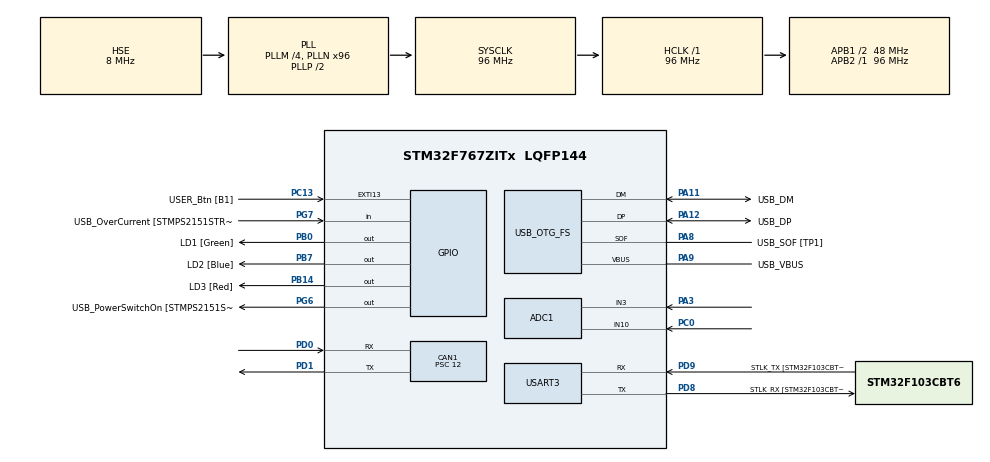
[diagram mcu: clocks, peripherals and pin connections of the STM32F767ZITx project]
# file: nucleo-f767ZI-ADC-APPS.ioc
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ADC1.Channel-1\#ChannelRegularConversion=ADC_CHANNEL_3
ADC1.Channel-2\#ChannelRegularConversion=ADC_CHANNEL_10
ADC1.ContinuousConvMode=ENABLE
ADC1.NbrOfConversion=2
ADC1.NbrOfConversionFlag=1
ADC1.Rank-1\#ChannelRegularConversion=1
ADC1.Rank-2\#ChannelRegularConversion=2
ADC1.SamplingTime-1\#ChannelRegularConversion=ADC_SAMPLETIME_3CYCLES
ADC1.SamplingTime-2\#ChannelRegularConversion=ADC_SAMPLETIME_3CYCLES
ADC1.master=1
CAN1.ABOM=ENABLE
CAN1.AWUM=ENABLE
CAN1.BS1=CAN_BS1_6TQ
CAN1.CalculateBaudRate=500000
CAN1.CalculateTimeBit=2000
CAN1.CalculateTimeQuantum=250.0
CAN1.Prescaler=12
FREERTOS.Tasks01=APPS,24,128,process_throttle,Default,NULL,Dynamic,NULL,NULL
FREERTOS.configUSE_NEWLIB_REENTRANT=1
Mcu.Family=STM32F7
Mcu.Name=STM32F767ZITx
Mcu.Package=LQFP144
NVIC.PriorityGroup=NVIC_PRIORITYGROUP_4
NVIC.TIM7_IRQn=true\:15\:0\:false\:false\:true\:false\:false\:true\:true
NVIC.TimeBase=TIM7_IRQn
NVIC.TimeBaseIP=TIM7
PA10.GPIO_Label=USB_ID
PA10.Signal=USB_OTG_FS_ID
PA11.GPIO_Label=USB_DM
PA11.Mode=Device_Only
PA11.Signal=USB_OTG_FS_DM
PA12.GPIO_Label=USB_DP
PA12.Mode=Device_Only
PA12.Signal=USB_OTG_FS_DP
PA13.GPIO_Label=TMS
PA13.Mode=Serial_Wire
PA13.Signal=SYS_JTMS-SWDIO
PA14.GPIO_Label=TCK
PA14.Mode=Serial_Wire
PA14.Signal=SYS_JTCK-SWCLK
PA3.Signal=ADCx_IN3
PA8.GPIO_Label=USB_SOF [TP1]
PA8.Mode=Activate_SOF_FS
PA8.Signal=USB_OTG_FS_SOF
PA9.GPIO_Label=USB_VBUS
PA9.Mode=Activate_VBUS
PA9.Signal=USB_OTG_FS_VBUS
PB0.GPIO_Label=LD1 [Green]
PB0.Signal=GPIO_Output
PB14.GPIO_Label=LD3 [Red]
PB14.Signal=GPIO_Output
PB3.GPIO_Label=SWO
PB3.Signal=SYS_JTDO-SWO
PB7.GPIO_Label=LD2 [Blue]
PB7.Signal=GPIO_Output
PC0.Signal=ADCx_IN10
PC13.GPIO_Label=USER_Btn [B1]
PC13.Signal=GPXTI13
PC14/OSC32_IN.Mode=LSE-External-Oscillator
PC14/OSC32_IN.Signal=RCC_OSC32_IN
PC15/OSC32_OUT.Mode=LSE-External-Oscillator
PC15/OSC32_OUT.Signal=RCC_OSC32_OUT
PD0.Mode=CAN_Activate
PD0.Signal=CAN1_RX
PD1.Mode=CAN_Activate
PD1.Signal=CAN1_TX
PD8.GPIO_Label=STLK_RX [STM32F103CBT6_PA3]
PD8.Mode=Asynchronous
PD8.Signal=USART3_TX
PD9.GPIO_Label=STLK_TX [STM32F103CBT6_PA2]
PD9.Mode=Asynchronous
PD9.Signal=USART3_RX
PG6.GPIO_Label=USB_PowerSwitchOn [STMPS2151STR_EN]
PG6.Signal=GPIO_Output
PG7.GPIO_Label=USB_OverCurrent [STMPS2151STR_FAULT]
PG7.Signal=GPIO_Input
PH0/OSC_IN.GPIO_Label=MCO [STM32F103CBT6_PA8]
PH0/OSC_IN.Mode=HSE-External-Clock-Source
PH0/OSC_IN.Signal=RCC_OSC_IN
PH1/OSC_OUT.Mode=HSE-External-Clock-Source
PH1/OSC_OUT.Signal=RCC_OSC_OUT
ProjectManager.HeapSize=0x200
ProjectManager.StackSize=0x400
ProjectManager.TargetToolchain=STM32CubeIDE
RCC.48MHZClocksFreq_Value=24000000
RCC.AHBFreq_Value=96000000
RCC.APB1CLKDivider=RCC_HCLK_DIV2
RCC.APB1Freq_Value=48000000
RCC.APB1TimFreq_Value=96000000
RCC.APB2Freq_Value=96000000
RCC.APB2TimFreq_Value=96000000
RCC.CortexFreq_Value=96000000
RCC.HCLKFreq_Value=96000000
RCC.HSE_VALUE=8000000
RCC.HSI_VALUE=16000000
RCC.PLLM=4
RCC.PLLMUL=RCC_PLL_MUL9
RCC.PLLN=96
RCC.PLLQ=4
RCC.PRESCALERUSB=RCC_USBCLKSOURCE_PLL_DIV1_5
RCC.SYSCLKFreq_VALUE=96000000
RCC.SYSCLKSource=RCC_SYSCLKSOURCE_PLLCLK
RCC.SYSCLKSourceVirtual=RCC_SYSCLKSOURCE_PLLCLK
RCC.USBFreq_Value=48000000
RCC.VCOOutputFreq_Value=192000000
SH.ADCx_IN10.0=ADC1_IN10,IN10
SH.ADCx_IN3.0=ADC1_IN3,IN3
USART3.VirtualMode-Asynchronous=VM_ASYNC
USB_OTG_FS.VirtualMode=Device_Only
VP_FREERTOS_VS_CMSIS_V2.Mode=CMSIS_V2
VP_SYS_VS_tim7.Mode=TIM7
board=NUCLEO-F767ZI

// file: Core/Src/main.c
/* USER CODE BEGIN Header */
/**
  ******************************************************************************
  * @file           : main.c
  * @brief          : Main program body
  ******************************************************************************
  * @attention
  *
  * Copyright (c) 2023 STMicroelectronics.
  * All rights reserved.
  *
  * This software is licensed under terms that can be found in the LICENSE file
  * in the root directory of this software component.
  * If no LICENSE file comes with this software, it is provided AS-IS.
  *
  ******************************************************************************
  */
/* USER CODE END Header */
#include "main.h"
#include "cmsis_os.h"

/* USER CODE BEGIN Includes */
#include <string.h>
#include <stdio.h>
/* USER CODE END Includes */

/* USER CODE BEGIN PM */
#define BAMOCAR_CANBUS_ID 0x271 // TODO: Verify
#define ECU_CANBUS_ID 0x10 // TODO: approve
#define TORQUE_REG 0x90 // TODO: Verify
/* USER CODE END PM */

ADC_HandleTypeDef hadc1;

CAN_HandleTypeDef hcan1;

UART_HandleTypeDef huart3;

PCD_HandleTypeDef hpcd_USB_OTG_FS;

/* Definitions for APPS */
osThreadId_t APPSHandle;
const osThreadAttr_t APPS_attributes = {
  .name = "APPS",
  .stack_size = 128 * 4,
  .priority = (osPriority_t) osPriorityNormal,
};
/* USER CODE BEGIN PV */
CAN_RxHeaderTypeDef rxHeader; //CAN Bus Transmit Header
CAN_TxHeaderTypeDef TxHeader;
uint32_t TxMailbox;
uint8_t TxData[8] = {0x00};
uint8_t canRX[8] = {0};  //CAN Bus Receive Buffer
/* USER CODE END PV */

void SystemClock_Config(void);
static void MX_GPIO_Init(void);
static void MX_USART3_UART_Init(void);
static void MX_USB_OTG_FS_PCD_Init(void);
static void MX_ADC1_Init(void);
static void MX_CAN1_Init(void);
void process_throttle(void *argument);

/* USER CODE BEGIN PFP */
uint16_t percent_to_trq_hex(short percent);
long map(long x, long in_min, long in_max, long out_min, long out_max);
/* USER CODE END PFP */

int main(void)
{

  /* MCU Configuration--------------------------------------------------------*/

  /* Reset of all peripherals, Initializes the Flash interface and the Systick. */
  HAL_Init();

  /* Configure the system clock */
  SystemClock_Config();

  /* Initialize all configured peripherals */
  MX_GPIO_Init();
  MX_USART3_UART_Init();
  MX_USB_OTG_FS_PCD_Init();
  MX_ADC1_Init();
  MX_CAN1_Init();

  /* Init scheduler */
  osKernelInitialize();

  /* Create the thread(s) */
  /* creation of APPS */
  APPSHandle = osThreadNew(process_throttle, NULL, &APPS_attributes);

  /* Start scheduler */
  osKernelStart();

  /* We should never get here as control is now taken by the scheduler */
  /* Infinite loop */
  while (1)
  {

  }
}

void SystemClock_Config(void)
{
  RCC_OscInitTypeDef RCC_OscInitStruct = {0};
  RCC_ClkInitTypeDef RCC_ClkInitStruct = {0};

  /** Configure LSE Drive Capability
  */
  HAL_PWR_EnableBkUpAccess();

  /** Configure the main internal regulator output voltage
  */
  __HAL_RCC_PWR_CLK_ENABLE();
  __HAL_PWR_VOLTAGESCALING_CONFIG(PWR_REGULATOR_VOLTAGE_SCALE3);

  /** Initializes the RCC Oscillators according to the specified parameters
  * in the RCC_OscInitTypeDef structure.
  */
  RCC_OscInitStruct.OscillatorType = RCC_OSCILLATORTYPE_HSE;
  RCC_OscInitStruct.HSEState = RCC_HSE_BYPASS;
  RCC_OscInitStruct.PLL.PLLState = RCC_PLL_ON;
  RCC_OscInitStruct.PLL.PLLSource = RCC_PLLSOURCE_HSE;
  RCC_OscInitStruct.PLL.PLLM = 4;
  RCC_OscInitStruct.PLL.PLLN = 96;
  RCC_OscInitStruct.PLL.PLLP = RCC_PLLP_DIV2;
  RCC_OscInitStruct.PLL.PLLQ = 4;
  RCC_OscInitStruct.PLL.PLLR = 2;
  if (HAL_RCC_OscConfig(&RCC_OscInitStruct) != HAL_OK)
  {
    Error_Handler();
  }

  /** Activate the Over-Drive mode
  */
  if (HAL_PWREx_EnableOverDrive() != HAL_OK)
  {
    Error_Handler();
  }

  /** Initializes the CPU, AHB and APB buses clocks
  */
  RCC_ClkInitStruct.ClockType = RCC_CLOCKTYPE_HCLK|RCC_CLOCKTYPE_SYSCLK
                              |RCC_CLOCKTYPE_PCLK1|RCC_CLOCKTYPE_PCLK2;
  RCC_ClkInitStruct.SYSCLKSource = RCC_SYSCLKSOURCE_PLLCLK;
  RCC_ClkInitStruct.AHBCLKDivider = RCC_SYSCLK_DIV1;
  RCC_ClkInitStruct.APB1CLKDivider = RCC_HCLK_DIV2;
  RCC_ClkInitStruct.APB2CLKDivider = RCC_HCLK_DIV1;

  if (HAL_RCC_ClockConfig(&RCC_ClkInitStruct, FLASH_LATENCY_3) != HAL_OK)
  {
    Error_Handler();
  }
}

static void MX_ADC1_Init(void)
{

  ADC_ChannelConfTypeDef sConfig = {0};

  /** Configure the global features of the ADC (Clock, Resolution, Data Alignment and number of conversion)
  */
  hadc1.Instance = ADC1;
  hadc1.Init.ClockPrescaler = ADC_CLOCK_SYNC_PCLK_DIV4;
  hadc1.Init.Resolution = ADC_RESOLUTION_12B;
  hadc1.Init.ScanConvMode = ADC_SCAN_ENABLE;
  hadc1.Init.ContinuousConvMode = ENABLE;
  hadc1.Init.DiscontinuousConvMode = DISABLE;
  hadc1.Init.ExternalTrigConvEdge = ADC_EXTERNALTRIGCONVEDGE_NONE;
  hadc1.Init.ExternalTrigConv = ADC_SOFTWARE_START;
  hadc1.Init.DataAlign = ADC_DATAALIGN_RIGHT;
  hadc1.Init.NbrOfConversion = 2;
  hadc1.Init.DMAContinuousRequests = DISABLE;
  hadc1.Init.EOCSelection = ADC_EOC_SINGLE_CONV;
  if (HAL_ADC_Init(&hadc1) != HAL_OK)
  {
    Error_Handler();
  }

  /** Configure for the selected ADC regular channel its corresponding rank in the sequencer and its sample time.
  */
  sConfig.Channel = ADC_CHANNEL_3;
  sConfig.Rank = ADC_REGULAR_RANK_1;
  sConfig.SamplingTime = ADC_SAMPLETIME_3CYCLES;
  if (HAL_ADC_ConfigChannel(&hadc1, &sConfig) != HAL_OK)
  {
    Error_Handler();
  }

  /** Configure for the selected ADC regular channel its corresponding rank in the sequencer and its sample time.
  */
  sConfig.Channel = ADC_CHANNEL_10;
  sConfig.Rank = ADC_REGULAR_RANK_2;
  if (HAL_ADC_ConfigChannel(&hadc1, &sConfig) != HAL_OK)
  {
    Error_Handler();
  }

}

static void MX_CAN1_Init(void)
{

  /* USER CODE BEGIN CAN1_Init 0 */
	CAN_FilterTypeDef canfil; //CAN Bus Filter
  /* USER CODE END CAN1_Init 0 */

  hcan1.Instance = CAN1;
  hcan1.Init.Prescaler = 12;
  hcan1.Init.Mode = CAN_MODE_NORMAL;
  hcan1.Init.SyncJumpWidth = CAN_SJW_1TQ;
  hcan1.Init.TimeSeg1 = CAN_BS1_6TQ;
  hcan1.Init.TimeSeg2 = CAN_BS2_1TQ;
  hcan1.Init.TimeTriggeredMode = DISABLE;
  hcan1.Init.AutoBusOff = ENABLE;
  hcan1.Init.AutoWakeUp = ENABLE;
  hcan1.Init.AutoRetransmission = DISABLE;
  hcan1.Init.ReceiveFifoLocked = DISABLE;
  hcan1.Init.TransmitFifoPriority = DISABLE;
  if (HAL_CAN_Init(&hcan1) != HAL_OK)
  {
    Error_Handler();
  }
  /* USER CODE BEGIN CAN1_Init 2 */
  TxHeader.DLC = 8; // Number of bites to be transmitted max- 8
  TxHeader.IDE = CAN_ID_STD;
  TxHeader.ExtId = 0;
  TxHeader.RTR = CAN_RTR_DATA;
  TxHeader.StdId = ECU_CANBUS_ID;
  TxHeader.TransmitGlobalTime = DISABLE;

  canfil.FilterBank = 0;
  canfil.FilterMode = CAN_FILTERMODE_IDMASK;
  canfil.FilterFIFOAssignment = CAN_RX_FIFO0;
  canfil.FilterIdHigh = 0;
  canfil.FilterIdLow = 0;
  canfil.FilterMaskIdHigh = 0;
  canfil.FilterMaskIdLow = 0;
  canfil.FilterScale = CAN_FILTERSCALE_32BIT;
  canfil.FilterActivation = ENABLE;
  canfil.SlaveStartFilterBank = 14;

  HAL_CAN_ConfigFilter(&hcan1,&canfil); //Initialize CAN Filter

  if (HAL_CAN_Start(&hcan1) != HAL_OK) {
	  Error_Handler();
  }
  /* USER CODE END CAN1_Init 2 */

}

static void MX_USART3_UART_Init(void)
{

  huart3.Instance = USART3;
  huart3.Init.BaudRate = 115200;
  huart3.Init.WordLength = UART_WORDLENGTH_8B;
  huart3.Init.StopBits = UART_STOPBITS_1;
  huart3.Init.Parity = UART_PARITY_NONE;
  huart3.Init.Mode = UART_MODE_TX_RX;
  huart3.Init.HwFlowCtl = UART_HWCONTROL_NONE;
  huart3.Init.OverSampling = UART_OVERSAMPLING_16;
  huart3.Init.OneBitSampling = UART_ONE_BIT_SAMPLE_DISABLE;
  huart3.AdvancedInit.AdvFeatureInit = UART_ADVFEATURE_NO_INIT;
  if (HAL_UART_Init(&huart3) != HAL_OK)
  {
    Error_Handler();
  }

}

static void MX_USB_OTG_FS_PCD_Init(void)
{

  hpcd_USB_OTG_FS.Instance = USB_OTG_FS;
  hpcd_USB_OTG_FS.Init.dev_endpoints = 6;
  hpcd_USB_OTG_FS.Init.speed = PCD_SPEED_FULL;
  hpcd_USB_OTG_FS.Init.dma_enable = DISABLE;
  hpcd_USB_OTG_FS.Init.phy_itface = PCD_PHY_EMBEDDED;
  hpcd_USB_OTG_FS.Init.Sof_enable = ENABLE;
  hpcd_USB_OTG_FS.Init.low_power_enable = DISABLE;
  hpcd_USB_OTG_FS.Init.lpm_enable = DISABLE;
  hpcd_USB_OTG_FS.Init.vbus_sensing_enable = ENABLE;
  hpcd_USB_OTG_FS.Init.use_dedicated_ep1 = DISABLE;
  if (HAL_PCD_Init(&hpcd_USB_OTG_FS) != HAL_OK)
  {
    Error_Handler();
  }

}

static void MX_GPIO_Init(void)
{
  GPIO_InitTypeDef GPIO_InitStruct = {0};

  /* GPIO Ports Clock Enable */
  __HAL_RCC_GPIOC_CLK_ENABLE();
  __HAL_RCC_GPIOH_CLK_ENABLE();
  __HAL_RCC_GPIOA_CLK_ENABLE();
  __HAL_RCC_GPIOB_CLK_ENABLE();
  __HAL_RCC_GPIOD_CLK_ENABLE();
  __HAL_RCC_GPIOG_CLK_ENABLE();

  /*Configure GPIO pin Output Level */
  HAL_GPIO_WritePin(GPIOB, LD1_Pin|LD3_Pin|LD2_Pin, GPIO_PIN_RESET);

  /*Configure GPIO pin Output Level */
  HAL_GPIO_WritePin(USB_PowerSwitchOn_GPIO_Port, USB_PowerSwitchOn_Pin, GPIO_PIN_RESET);

  /*Configure GPIO pin : USER_Btn_Pin */
  GPIO_InitStruct.Pin = USER_Btn_Pin;
  GPIO_InitStruct.Mode = GPIO_MODE_IT_RISING;
  GPIO_InitStruct.Pull = GPIO_NOPULL;
  HAL_GPIO_Init(USER_Btn_GPIO_Port, &GPIO_InitStruct);

  /*Configure GPIO pins : LD1_Pin LD3_Pin LD2_Pin */
  GPIO_InitStruct.Pin = LD1_Pin|LD3_Pin|LD2_Pin;
  GPIO_InitStruct.Mode = GPIO_MODE_OUTPUT_PP;
  GPIO_InitStruct.Pull = GPIO_NOPULL;
  GPIO_InitStruct.Speed = GPIO_SPEED_FREQ_LOW;
  HAL_GPIO_Init(GPIOB, &GPIO_InitStruct);

  /*Configure GPIO pin : USB_PowerSwitchOn_Pin */
  GPIO_InitStruct.Pin = USB_PowerSwitchOn_Pin;
  GPIO_InitStruct.Mode = GPIO_MODE_OUTPUT_PP;
  GPIO_InitStruct.Pull = GPIO_NOPULL;
  GPIO_InitStruct.Speed = GPIO_SPEED_FREQ_LOW;
  HAL_GPIO_Init(USB_PowerSwitchOn_GPIO_Port, &GPIO_InitStruct);

  /*Configure GPIO pin : USB_OverCurrent_Pin */
  GPIO_InitStruct.Pin = USB_OverCurrent_Pin;
  GPIO_InitStruct.Mode = GPIO_MODE_INPUT;
  GPIO_InitStruct.Pull = GPIO_NOPULL;
  HAL_GPIO_Init(USB_OverCurrent_GPIO_Port, &GPIO_InitStruct);

}

/* USER CODE BEGIN 4 */
uint16_t percent_to_trq_hex(short percent){
    return (uint16_t)map(percent, 0, 100, 0x0000, 0x5555);
}

// Parsed from Arduino's Wiring.h
long map(long x, long in_min, long in_max, long out_min, long out_max) {
	long in_range = in_max - in_min;
	long out_range = out_max - out_min;
	if (in_range == 0) return out_min + out_range / 2;
	long num = (x - in_min) * out_range;
	if (out_range >= 0) {
		num += in_range / 2;
	} else {
		num -= in_range / 2;
	}
	long result = num / in_range + out_min;
	if (out_range >= 0) {
		if (in_range * num < 0) return result - 1;
	} else {
		if (in_range * num >= 0) return result + 1;
	}
	return result;
}
/* USER CODE END 4 */

void process_throttle(void *argument)
{
  /* USER CODE BEGIN 5 */
	uint16_t raw;
	char msg[32];
  /* Infinite loop */
  for(;;)
  {
	  //#############################APPS 1#####################################
	  //What one can do to test the Timing of the ADC is pull a pin high here and measure it wit the Oscilloscope
	  HAL_GPIO_TogglePin(GPIOB, GPIO_PIN_14);

	  //Get ADC Value
	  HAL_ADC_Start(&hadc1);
	  HAL_ADC_PollForConversion(&hadc1, HAL_MAX_DELAY);
	  raw = HAL_ADC_GetValue(&hadc1);

	  //Set GPIO pin low for ADC timing on Oscilloscope
	  HAL_GPIO_TogglePin(GPIOB, GPIO_PIN_14);

	  //Convert string and send message over UART to PC console
	  sprintf(msg,"%hu\r\n", raw);
	  HAL_UART_Transmit(&huart3, (uint8_t*)msg, strlen(msg), HAL_MAX_DELAY);

	  //#############################APPS 2#####################################
//	  //What one can do to test the Timing of the ADC is pull a pin high here and measure it wit the Oscilloscope
//	  HAL_GPIO_TogglePin(GPIOB, GPIO_PIN_14);
//
//	  //Get ADC Value
//	  HAL_ADC_Start(&hadc1);
//	  HAL_ADC_PollForConversion(&hadc1, HAL_MAX_DELAY);
//	  raw = HAL_ADC_GetValue(&hadc1);
//
//	  //Set GPIO pin low for ADC timing on Oscilloscope
//	  HAL_GPIO_TogglePin(GPIOB, GPIO_PIN_14);
//
//	  //Convert string and send message over UART to PC console
//	  sprintf(msg,"A1: %hu\r\n", raw);
//	  HAL_UART_Transmit(&huart3, (uint8_t*)msg, strlen(msg), HAL_MAX_DELAY);
//
//	  //Pretend we have something else to do for a while
//	  HAL_Delay(1);
  }

  //In case the thread is ever terminated (exited from task loop), which should be never
  osThreadTerminate(NULL);

  /* USER CODE END 5 */
}

void HAL_TIM_PeriodElapsedCallback(TIM_HandleTypeDef *htim)
{
  if (htim->Instance == TIM7) {
    HAL_IncTick();
  }
}

void Error_Handler(void)
{
  __disable_irq();
  while (1)
  {
  }
}
